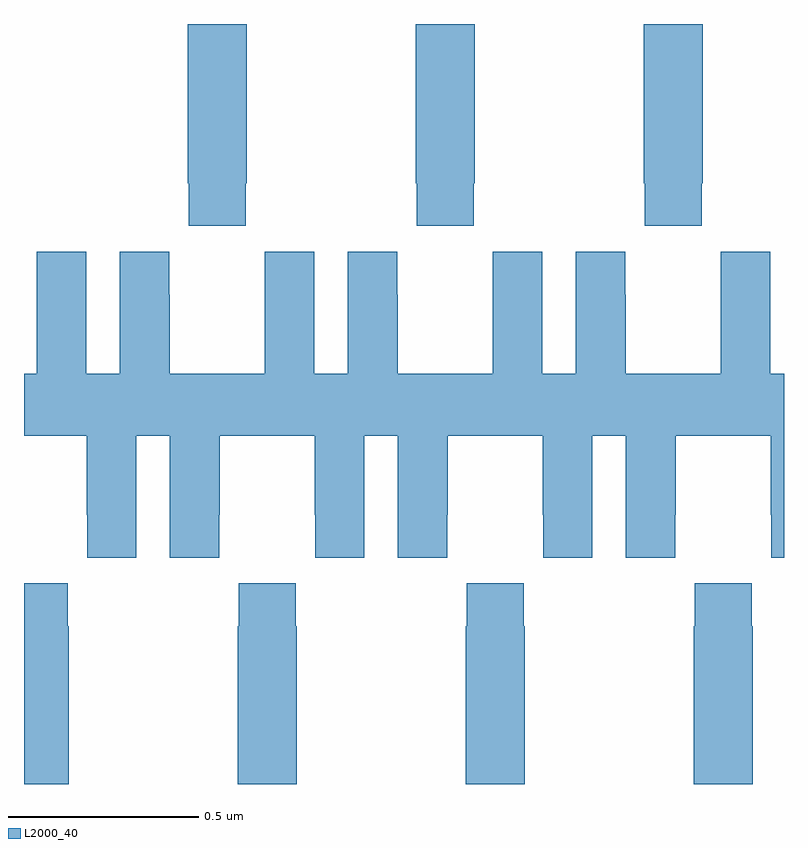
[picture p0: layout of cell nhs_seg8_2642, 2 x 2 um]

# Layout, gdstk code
import gdstk
lib = gdstk.Library(unit=1e-6, precision=1e-09)
def P(c, l, *ps):  # polygons
    for p in ps: c.add(gdstk.Polygon(p, *l))
L2000_40 = (2000, 40)

nhs_seg8_2642 = lib.new_cell('nhs_seg8_2642')
P(nhs_seg8_2642, L2000_40, [(147.183,1134.481),(147.186,1134.481),(147.186,1134.9),(147.031,1134.9),(147.031,1134.481),(147.033,1134.481),(147.033,1134.369),(147.183,1134.369)],
  [(147.783,1134.481),(147.786,1134.481),(147.786,1134.9),(147.631,1134.9),(147.631,1134.481),(147.633,1134.481),(147.633,1134.369),(147.783,1134.369)],
  [(146.583,1134.481),(146.586,1134.481),(146.586,1134.9),(146.431,1134.9),(146.431,1134.481),(146.433,1134.481),(146.433,1134.369),(146.583,1134.369)],
  [(146.296,1133.816),(146.384,1133.816),(146.384,1133.496),(146.514,1133.496),(146.514,1133.608),(146.515,1133.608),(146.515,1133.816),(146.765,1133.816),(146.765,1133.608),(146.766,1133.608),(146.766,1133.496),(146.896,1133.496),(146.896,1133.816),(146.984,1133.816),(146.984,1133.496),(147.114,1133.496),(147.114,1133.608),(147.115,1133.608),(147.115,1133.816),(147.365,1133.816),(147.365,1133.608),(147.366,1133.608),(147.366,1133.496),(147.496,1133.496),(147.496,1133.816),(147.584,1133.816),(147.584,1133.496),(147.714,1133.496),(147.714,1133.608),(147.715,1133.608),(147.715,1133.816),(147.965,1133.816),(147.965,1133.608),(147.966,1133.608),(147.966,1133.496),(148,1133.496),(148,1133.98),(147.964,1133.98),(147.964,1134.301),(147.834,1134.301),(147.834,1134.188),(147.833,1134.188),(147.833,1133.98),(147.583,1133.98),(147.583,1134.188),(147.582,1134.188),(147.582,1134.301),(147.452,1134.301),(147.452,1133.98),(147.364,1133.98),(147.364,1134.301),(147.234,1134.301),(147.234,1134.188),(147.233,1134.188),(147.233,1133.98),(146.983,1133.98),(146.983,1134.188),(146.982,1134.188),(146.982,1134.301),(146.852,1134.301),(146.852,1133.98),(146.764,1133.98),(146.764,1134.301),(146.634,1134.301),(146.634,1134.188),(146.633,1134.188),(146.633,1133.98),(146.383,1133.98),(146.383,1134.188),(146.382,1134.188),(146.382,1134.301),(146.252,1134.301),(146.252,1133.98),(146.164,1133.98),(146.164,1134.301),(146.034,1134.301),(146.034,1134.188),(146.033,1134.188),(146.033,1133.98),(146,1133.98),(146,1133.816),(146.165,1133.816),(146.165,1133.608),(146.166,1133.608),(146.166,1133.496),(146.296,1133.496)],
  [(146.718,1133.315),(146.715,1133.315),(146.715,1133.428),(146.565,1133.428),(146.565,1133.315),(146.563,1133.315),(146.563,1132.9),(146.718,1132.9)],
  [(147.318,1133.315),(147.315,1133.315),(147.315,1133.428),(147.165,1133.428),(147.165,1133.315),(147.163,1133.315),(147.163,1132.9),(147.318,1132.9)],
  [(147.918,1133.315),(147.915,1133.315),(147.915,1133.428),(147.765,1133.428),(147.765,1133.315),(147.763,1133.315),(147.763,1132.9),(147.918,1132.9)],
  [(146.118,1133.315),(146.115,1133.315),(146.115,1133.428),(146,1133.428),(146,1132.9),(146.118,1132.9)])

lib.write_gds('nhs_seg8_2642.gds')
